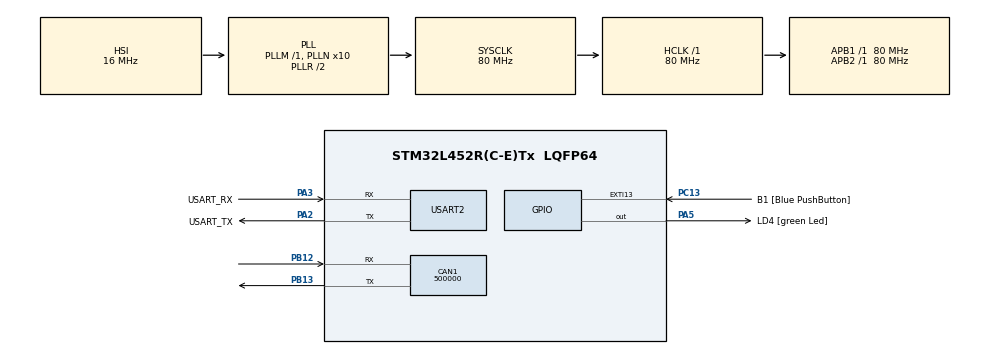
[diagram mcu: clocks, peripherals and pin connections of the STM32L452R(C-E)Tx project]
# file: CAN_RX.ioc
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CAN1.BS1=CAN_BS1_6TQ
CAN1.BS2=CAN_BS2_3TQ
CAN1.CalculateBaudRate=500000
CAN1.CalculateTimeBit=2000
CAN1.CalculateTimeQuantum=200.0
Mcu.Family=STM32L4
Mcu.Name=STM32L452R(C-E)Tx
Mcu.Package=LQFP64
NVIC.CAN1_RX0_IRQn=true\:0\:0\:false\:false\:true\:true\:true\:true
NVIC.CAN1_RX1_IRQn=true\:0\:0\:false\:false\:true\:true\:true\:true
NVIC.PriorityGroup=NVIC_PRIORITYGROUP_4
PA13\ (JTMS/SWDIO).GPIO_Label=TMS
PA13\ (JTMS/SWDIO).Mode=Serial_Wire
PA13\ (JTMS/SWDIO).Signal=SYS_JTMS-SWDIO
PA14\ (JTCK/SWCLK).GPIO_Label=TCK
PA14\ (JTCK/SWCLK).Mode=Serial_Wire
PA14\ (JTCK/SWCLK).Signal=SYS_JTCK-SWCLK
PA2.GPIO_Label=USART_TX
PA2.GPIO_Mode=GPIO_MODE_AF_PP
PA2.GPIO_PuPd=GPIO_NOPULL
PA2.GPIO_Speed=GPIO_SPEED_FREQ_VERY_HIGH
PA2.Mode=Asynchronous
PA2.Signal=USART2_TX
PA3.GPIO_Label=USART_RX
PA3.GPIO_Mode=GPIO_MODE_AF_PP
PA3.GPIO_PuPd=GPIO_NOPULL
PA3.GPIO_Speed=GPIO_SPEED_FREQ_VERY_HIGH
PA3.Mode=Asynchronous
PA3.Signal=USART2_RX
PA5.GPIO_Label=LD4 [green Led]
PA5.GPIO_ModeDefaultOutputPP=GPIO_MODE_OUTPUT_PP
PA5.GPIO_PuPd=GPIO_NOPULL
PA5.GPIO_Speed=GPIO_SPEED_FREQ_LOW
PA5.Signal=GPIO_Output
PB12.Mode=CAN_Activate
PB12.Signal=CAN1_RX
PB13.Mode=CAN_Activate
PB13.Signal=CAN1_TX
PB3\ (JTDO/TRACESWO).GPIO_Label=SWO
PB3\ (JTDO/TRACESWO).Signal=SYS_JTDO-SWO
PC13.GPIO_Label=B1 [Blue PushButton]
PC13.GPIO_ModeDefaultEXTI=GPIO_MODE_IT_FALLING
PC13.GPIO_PuPd=GPIO_NOPULL
PC13.Signal=GPXTI13
PC14-OSC32_IN\ (PC14).Mode=LSE-External-Oscillator
PC14-OSC32_IN\ (PC14).Signal=RCC_OSC32_IN
PC15-OSC32_OUT\ (PC15).Mode=LSE-External-Oscillator
PC15-OSC32_OUT\ (PC15).Signal=RCC_OSC32_OUT
PH0-OSC_IN\ (PH0).Signal=RCC_OSC_IN
PH1-OSC_OUT\ (PH1).Signal=RCC_OSC_OUT
ProjectManager.HeapSize=0x200
ProjectManager.StackSize=0x400
ProjectManager.TargetToolchain=STM32CubeIDE
RCC.ADCFreq_Value=64000000
RCC.AHBFreq_Value=80000000
RCC.APB1Freq_Value=80000000
RCC.APB1TimFreq_Value=80000000
RCC.APB2Freq_Value=80000000
RCC.APB2TimFreq_Value=80000000
RCC.CortexFreq_Value=80000000
RCC.HCLKFreq_Value=80000000
RCC.HSE_VALUE=8000000
RCC.HSI48_VALUE=48000000
RCC.HSI_VALUE=16000000
RCC.MSI_VALUE=4000000
RCC.PLLN=10
RCC.PLLSourceVirtual=RCC_PLLSOURCE_HSI
RCC.PREFETCH_ENABLE=1
RCC.SYSCLKFreq_VALUE=80000000
RCC.SYSCLKSource=RCC_SYSCLKSOURCE_PLLCLK
RCC.USBFreq_Value=64000000
RCC.VCOOutputFreq_Value=160000000
USART2.VirtualMode-Asynchronous=VM_ASYNC
board=NUCLEO-L452RE

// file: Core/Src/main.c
/* USER CODE BEGIN Header */
/**
  ******************************************************************************
  * @file           : main.c
  * @brief          : Main program body
  ******************************************************************************
  * @attention
  *
  * Copyright (c) 2024 STMicroelectronics.
  * All rights reserved.
  *
  * This software is licensed under terms that can be found in the LICENSE file
  * in the root directory of this software component.
  * If no LICENSE file comes with this software, it is provided AS-IS.
  *
  ******************************************************************************
  */
/* USER CODE END Header */
#include "main.h"

/* USER CODE BEGIN Includes */
#include <stdio.h>
#include <string.h>
#include <stdlib.h>
/* USER CODE END Includes */

/* USER CODE BEGIN PTD */
char uart_msg[100];
void print(char uart_buffer[]);
void printValue(uint8_t value);
/* USER CODE END PTD */

CAN_HandleTypeDef hcan1;

UART_HandleTypeDef huart2;

void SystemClock_Config(void);
static void MX_GPIO_Init(void);
static void MX_USART2_UART_Init(void);
static void MX_CAN1_Init(void);

/* USER CODE BEGIN 0 */
CAN_RxHeaderTypeDef   RxHeader;

uint8_t               RxData[8];

/*void HAL_CAN_RxFifo0MsgPendingCallback(CAN_HandleTypeDef *hcan){
	uint8_t tx_buffer[27]="Salta la notificación\n\r";
	//HAL_UART_Transmit(&huart2,tx_buffer,27,100);

	if(HAL_CAN_GetRxMessage(hcan, CAN_RX_FIFO0, &RxHeader, RxData) == HAL_OK){
		//uint8_t tx_buffer[27]="Working 2\n\r";
		uint8_t tx_buffer[27]="Working 2\n\r";
		HAL_UART_Transmit(&huart2,tx_buffer,strlen(tx_buffer),0xFF);
		if(RxHeader.StdId == 0x44){
			uint8_t tx_buffer2[27]="La ID es 44";
			HAL_UART_Transmit(&huart2,RxHeader.StdId,strlen(RxHeader.StdId),0xFF);
		}
		uint8_t tx_buffer2[27]="\n\r";
		HAL_UART_Transmit(&huart2,tx_buffer2,27,100);
		HAL_Delay(250);
	}
}*/

/* USER CODE END 0 */

int main(void)
{

  /* MCU Configuration--------------------------------------------------------*/

  /* Reset of all peripherals, Initializes the Flash interface and the Systick. */
  HAL_Init();

  /* Configure the system clock */
  SystemClock_Config();

  /* Initialize all configured peripherals */
  MX_GPIO_Init();
  MX_USART2_UART_Init();
  MX_CAN1_Init();
  /* USER CODE BEGIN 2 */
  //HAL_CAN_ActivateNotification(&hcan1, CAN_IT_RX_FIFO0_MSG_PENDING);

  HAL_CAN_Start(&hcan1);

  /* USER CODE END 2 */

  /* Infinite loop */
  while (1)
  {
		if(HAL_CAN_GetRxMessage(&hcan1, CAN_RX_FIFO0, &RxHeader, RxData) == HAL_OK){
			print("Receiving ID:");
			printValue(RxHeader.StdId);
			print("Data:");
			printValue(&RxData);
			/*if(RxHeader.StdId == 0x44){
				uint8_t tx_buffer2[27]="La ID del mensaje es 0x44\n\r";
				HAL_UART_Transmit(&huart2,tx_buffer2,strlen(tx_buffer2),0xFF);
			}*/
		}
		else{
			print("Error al recibir");
		}
		HAL_Delay(300);

  }
}

void SystemClock_Config(void)
{
  RCC_OscInitTypeDef RCC_OscInitStruct = {0};
  RCC_ClkInitTypeDef RCC_ClkInitStruct = {0};

  /** Configure the main internal regulator output voltage
  */
  if (HAL_PWREx_ControlVoltageScaling(PWR_REGULATOR_VOLTAGE_SCALE1) != HAL_OK)
  {
    Error_Handler();
  }

  /** Initializes the RCC Oscillators according to the specified parameters
  * in the RCC_OscInitTypeDef structure.
  */
  RCC_OscInitStruct.OscillatorType = RCC_OSCILLATORTYPE_HSI;
  RCC_OscInitStruct.HSIState = RCC_HSI_ON;
  RCC_OscInitStruct.HSICalibrationValue = RCC_HSICALIBRATION_DEFAULT;
  RCC_OscInitStruct.PLL.PLLState = RCC_PLL_ON;
  RCC_OscInitStruct.PLL.PLLSource = RCC_PLLSOURCE_HSI;
  RCC_OscInitStruct.PLL.PLLM = 1;
  RCC_OscInitStruct.PLL.PLLN = 10;
  RCC_OscInitStruct.PLL.PLLP = RCC_PLLP_DIV7;
  RCC_OscInitStruct.PLL.PLLQ = RCC_PLLQ_DIV2;
  RCC_OscInitStruct.PLL.PLLR = RCC_PLLR_DIV2;
  if (HAL_RCC_OscConfig(&RCC_OscInitStruct) != HAL_OK)
  {
    Error_Handler();
  }

  /** Initializes the CPU, AHB and APB buses clocks
  */
  RCC_ClkInitStruct.ClockType = RCC_CLOCKTYPE_HCLK|RCC_CLOCKTYPE_SYSCLK
                              |RCC_CLOCKTYPE_PCLK1|RCC_CLOCKTYPE_PCLK2;
  RCC_ClkInitStruct.SYSCLKSource = RCC_SYSCLKSOURCE_PLLCLK;
  RCC_ClkInitStruct.AHBCLKDivider = RCC_SYSCLK_DIV1;
  RCC_ClkInitStruct.APB1CLKDivider = RCC_HCLK_DIV1;
  RCC_ClkInitStruct.APB2CLKDivider = RCC_HCLK_DIV1;

  if (HAL_RCC_ClockConfig(&RCC_ClkInitStruct, FLASH_LATENCY_4) != HAL_OK)
  {
    Error_Handler();
  }
}

static void MX_CAN1_Init(void)
{

  hcan1.Instance = CAN1;
  hcan1.Init.Prescaler = 16;
  hcan1.Init.Mode = CAN_MODE_NORMAL;
  hcan1.Init.SyncJumpWidth = CAN_SJW_1TQ;
  hcan1.Init.TimeSeg1 = CAN_BS1_6TQ;
  hcan1.Init.TimeSeg2 = CAN_BS2_3TQ;
  hcan1.Init.TimeTriggeredMode = DISABLE;
  hcan1.Init.AutoBusOff = DISABLE;
  hcan1.Init.AutoWakeUp = DISABLE;
  hcan1.Init.AutoRetransmission = DISABLE;
  hcan1.Init.ReceiveFifoLocked = DISABLE;
  hcan1.Init.TransmitFifoPriority = DISABLE;
  if (HAL_CAN_Init(&hcan1) != HAL_OK)
  {
    Error_Handler();
  }
  /* USER CODE BEGIN CAN1_Init 2 */
  CAN_FilterTypeDef canfilterconfig;

  canfilterconfig.FilterActivation = CAN_FILTER_ENABLE; //CAN_FILTER_ENABLE;//CAN_FILTER_DISABLE
  canfilterconfig.FilterBank = 0;
  canfilterconfig.FilterFIFOAssignment = CAN_FILTER_FIFO0; //CAN_FILTER_FIFO1
  canfilterconfig.FilterIdHigh = 0;
  canfilterconfig.FilterIdLow = 0;
  canfilterconfig.FilterMaskIdHigh = 0;
  canfilterconfig.FilterMaskIdLow = 0;
  canfilterconfig.FilterMode = CAN_FILTERMODE_IDMASK; //CAN_FILTERMODE_IDMASK;//CAN_FILTERMODE_IDLIST
  canfilterconfig.FilterScale = CAN_FILTERSCALE_32BIT; //CAN_FILTERSCALE_32BIT
  canfilterconfig.SlaveStartFilterBank = 0;

  HAL_CAN_ConfigFilter(&hcan1, &canfilterconfig);

  /* USER CODE END CAN1_Init 2 */

}

static void MX_USART2_UART_Init(void)
{

  huart2.Instance = USART2;
  huart2.Init.BaudRate = 115200;
  huart2.Init.WordLength = UART_WORDLENGTH_8B;
  huart2.Init.StopBits = UART_STOPBITS_1;
  huart2.Init.Parity = UART_PARITY_NONE;
  huart2.Init.Mode = UART_MODE_TX_RX;
  huart2.Init.HwFlowCtl = UART_HWCONTROL_NONE;
  huart2.Init.OverSampling = UART_OVERSAMPLING_16;
  huart2.Init.OneBitSampling = UART_ONE_BIT_SAMPLE_DISABLE;
  huart2.AdvancedInit.AdvFeatureInit = UART_ADVFEATURE_NO_INIT;
  if (HAL_UART_Init(&huart2) != HAL_OK)
  {
    Error_Handler();
  }

}

static void MX_GPIO_Init(void)
{
  GPIO_InitTypeDef GPIO_InitStruct = {0};

  /* GPIO Ports Clock Enable */
  __HAL_RCC_GPIOC_CLK_ENABLE();
  __HAL_RCC_GPIOH_CLK_ENABLE();
  __HAL_RCC_GPIOA_CLK_ENABLE();
  __HAL_RCC_GPIOB_CLK_ENABLE();

  /*Configure GPIO pin Output Level */
  HAL_GPIO_WritePin(LD4_GPIO_Port, LD4_Pin, GPIO_PIN_RESET);

  /*Configure GPIO pin : B1_Pin */
  GPIO_InitStruct.Pin = B1_Pin;
  GPIO_InitStruct.Mode = GPIO_MODE_IT_FALLING;
  GPIO_InitStruct.Pull = GPIO_NOPULL;
  HAL_GPIO_Init(B1_GPIO_Port, &GPIO_InitStruct);

  /*Configure GPIO pin : LD4_Pin */
  GPIO_InitStruct.Pin = LD4_Pin;
  GPIO_InitStruct.Mode = GPIO_MODE_OUTPUT_PP;
  GPIO_InitStruct.Pull = GPIO_NOPULL;
  GPIO_InitStruct.Speed = GPIO_SPEED_FREQ_LOW;
  HAL_GPIO_Init(LD4_GPIO_Port, &GPIO_InitStruct);

}

/* USER CODE BEGIN 4 */
void print(char uart_buffer[]){
	sprintf(uart_msg, "%s \n\r", uart_buffer);
	HAL_UART_Transmit(&huart2,(uint8_t*)uart_msg,strlen(uart_msg),HAL_MAX_DELAY);

}

void printValue(uint8_t value){
	sprintf(uart_msg, "%hu \n\r", value);
	HAL_UART_Transmit(&huart2,(uint8_t*)uart_msg,strlen(uart_msg),HAL_MAX_DELAY);

}
/* USER CODE END 4 */

void Error_Handler(void)
{
  __disable_irq();
  while (1)
  {
  }
}
